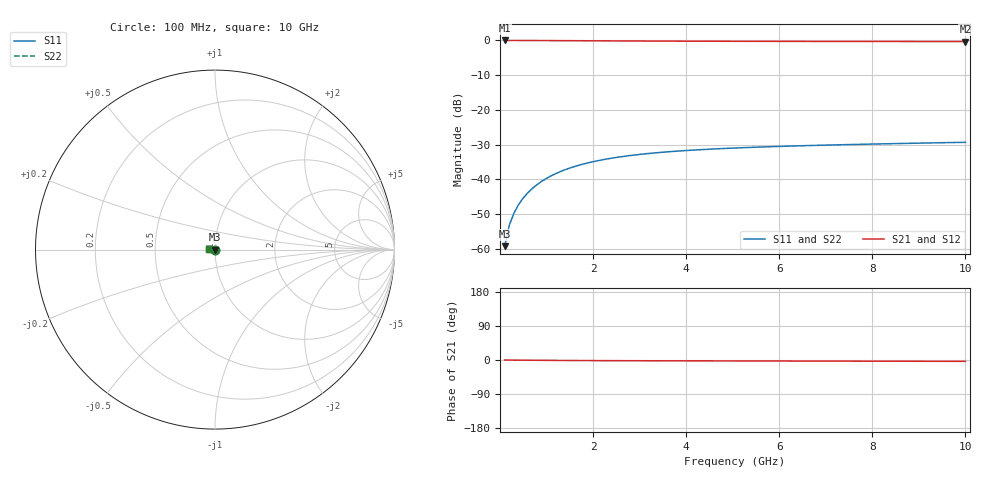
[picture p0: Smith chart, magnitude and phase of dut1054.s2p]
! Touchstone file exported from HFSS 2024.1.0
!  File:  C:/UserFiles/LocalFiles/RDL_TSV_Batchsim/temp_TSV1_1054_1780062928.aedt
!  Generated:  10:04:27 PM May 29, 2026
!  Design:  TSV1
!  Project:  temp_TSV1_1054_1780062928
!  Setup:  Setup1
!  Solution:  Sweep
! Variables:
!  dtsv = 12.46um
!  hbump = 3um
!  htsv = 51.09um
!  lrdl = 252.1521522um
!  p = 40
!  p1 = 58.4um
!  t = 500um
!  trdl = 3um
!  wrdl = 24.89489489um
# GHz S MA R 50.000000
! Terminal data exported
! Port[1] = TSV22_T1
! Port[2] = TSV22_T2
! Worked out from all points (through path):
!   100 points, 100 MHz to 10 GHz, reference 50 ohm
!   highest |S21| = 0.00 dB at 100 MHz (marker M1); lowest = -0.3 dB at 10 GHz (marker M2)
!   lowest |S11| = -59.3 dB at 100 MHz (marker M3), VSWR 1.00, Z = 50 - j0.108 ohm
!   |S11| at or under -10 dB: start of sweep to end of sweep
!   |S22| runs from -59.3 to -29.4 dB; largest |S21 - S12| = 1e-15
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0.1  0.001083 -88.6  0.9999 -0.1  0.9999 -0.1  0.001083 -88.6
! Gamma 0 0 0 0
! Port Impedance 50 0 50 0
0.2  0.002162 -92.5  0.9997 -0.2  0.9997 -0.2  0.002162 -92.5
0.3  0.003237 -95.3  0.9995 -0.3  0.9995 -0.3  0.003237 -95.3
0.4  0.004303 -97.8  0.9992 -0.4  0.9992 -0.4  0.004303 -97.8
0.5  0.005354 -100.2  0.9988 -0.5  0.9988 -0.5  0.005354 -100.2
0.6  0.006387 -102.6  0.9984 -0.6  0.9984 -0.6  0.006387 -102.6
0.7  0.007399 -104.8  0.9979 -0.7  0.9979 -0.7  0.007399 -104.8
0.8  0.008385 -107.0  0.9973 -0.8  0.9973 -0.8  0.008385 -107.0
0.9  0.009345 -109.2  0.9967 -0.9  0.9967 -0.9  0.009345 -109.2
1.1  0.01118 -113.3  0.9953 -1.0  0.9953 -1.0  0.01118 -113.3
1.4  0.01369 -119.2  0.9931 -1.2  0.9931 -1.2  0.01369 -119.2
1.6  0.01521 -122.8  0.9915 -1.4  0.9915 -1.4  0.01521 -122.8
1.8  0.01661 -126.2  0.99 -1.5  0.99 -1.5  0.01661 -126.2
2.1  0.01847 -131.0  0.9876 -1.6  0.9876 -1.6  0.01847 -131.0
2.5  0.0206 -136.8  0.9847 -1.8  0.9847 -1.8  0.0206 -136.8
2.9  0.02236 -142.0  0.9821 -1.9  0.9821 -1.9  0.02236 -142.0
3.4  0.02417 -147.6  0.9793 -2.1  0.9793 -2.1  0.02417 -147.6
4.2  0.02639 -155.3  0.9756 -2.3  0.9756 -2.3  0.02639 -155.3
5.1  0.02825 -162.5  0.9726 -2.5  0.9726 -2.5  0.02825 -162.5
6.7  0.03062 -172.7  0.9689 -2.8  0.9689 -2.8  0.03062 -172.7
8.4  0.0325 178.6  0.9664 -3.2  0.9664 -3.2  0.0325 178.6
10  0.03402 171.8  0.9649 -3.6  0.9649 -3.6  0.03402 171.8
